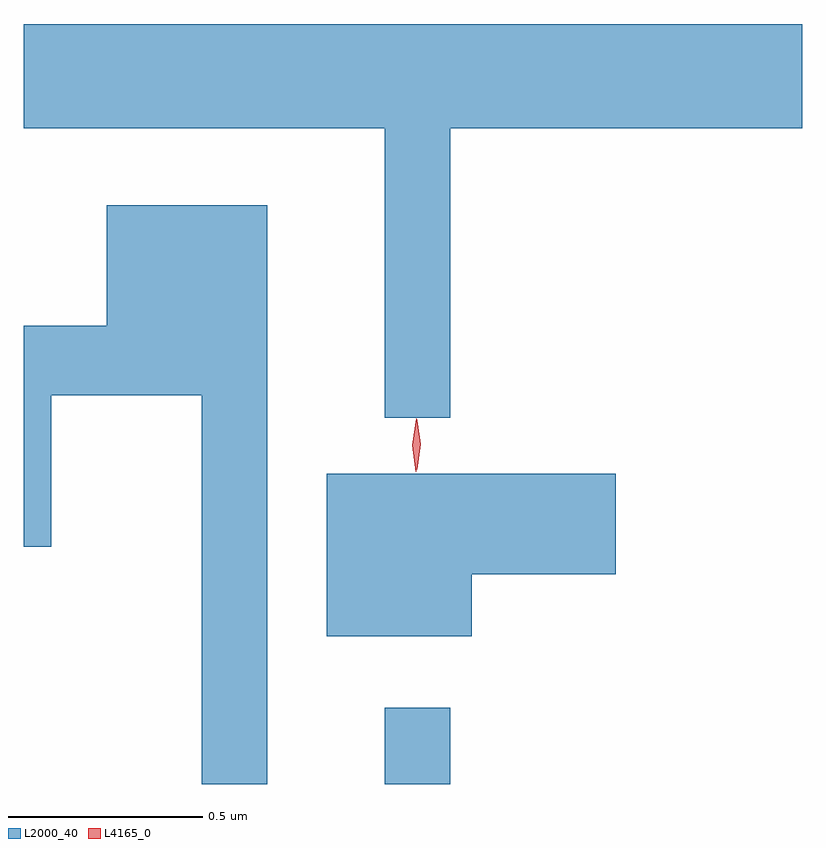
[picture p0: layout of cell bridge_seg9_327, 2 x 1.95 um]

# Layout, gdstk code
import gdstk
lib = gdstk.Library(unit=1e-6, precision=1e-09)
def R(c, l, rs):  # rectangles x0, y0, x1, y1
    for r in rs: c.add(gdstk.rectangle(r[:2], r[2:], *l))
def P(c, l, *ps):  # polygons
    for p in ps: c.add(gdstk.Polygon(p, *l))
L2000_40 = (2000, 40)
L4165_0 = (4165, 0)

bridge_seg9_327 = lib.new_cell('bridge_seg9_327')
R(bridge_seg9_327, L2000_40, [(1011.141,2076.712,1011.309,2076.908)])
P(bridge_seg9_327, L2000_40, [(1011.309,2078.396),(1012.213,2078.396),(1012.213,2078.664),(1010.213,2078.664),(1010.213,2078.396),(1011.141,2078.396),(1011.141,2077.653),(1011.309,2077.653)],
  [(1010.839,2078.199),(1010.426,2078.199),(1010.426,2077.889),(1010.213,2077.889),(1010.213,2077.321),(1010.284,2077.321),(1010.284,2077.711),(1010.671,2077.711),(1010.671,2076.712),(1010.839,2076.712)],
  [(1011.364,2077.251),(1011.734,2077.251),(1011.734,2077.509),(1010.991,2077.509),(1010.991,2077.091),(1011.364,2077.091)])
P(bridge_seg9_327, L4165_0, [(1011.22,2077.514),(1011.22,2077.514),(1011.211,2077.582),(1011.221,2077.65),(1011.222,2077.65),(1011.222,2077.65),(1011.231,2077.582),(1011.221,2077.514)],
  [(1011.223,2077.52),(1011.214,2077.584),(1011.223,2077.646),(1011.224,2077.647),(1011.224,2077.646),(1011.233,2077.584),(1011.224,2077.52),(1011.224,2077.52)])

lib.write_gds('bridge_seg9_327.gds')
